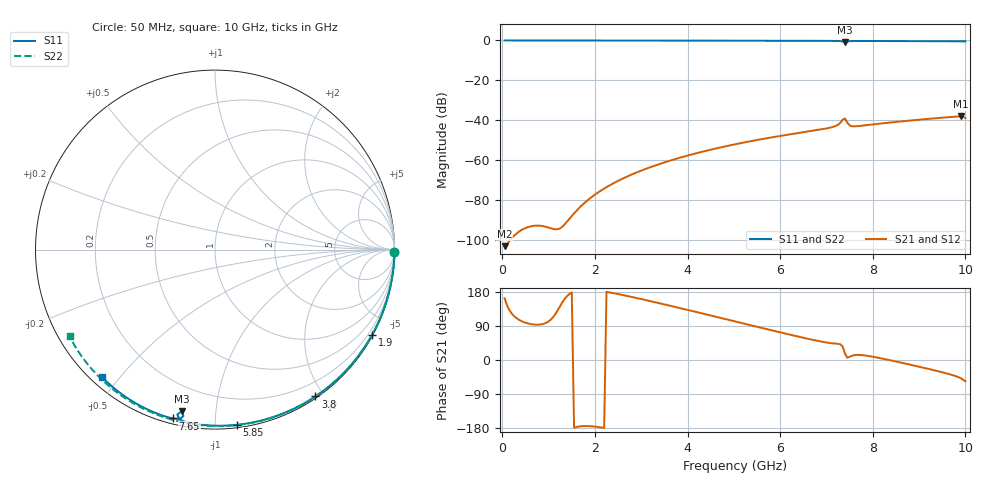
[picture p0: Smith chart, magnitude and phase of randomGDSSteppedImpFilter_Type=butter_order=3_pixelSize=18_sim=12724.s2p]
! freq	dB(S11)	phase(S11)	dB(S12)	phase(S12)
!  dB(S21)	phase(S21)	dB(S22)	phase(S22)
!S-par simulation data
#  GHz  S  DB  R 50
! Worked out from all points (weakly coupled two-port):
!   200 points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, 50 MHz to 10 GHz, reference 50 ohm
!   highest |S21| = -38.16 dB at 9.9 GHz (marker M1); lowest = -103.2 dB at 50 MHz (marker M2)
!   lowest |S11| = -0.7 dB at 7.4 GHz (marker M3), VSWR 23.83, Z = 3.49 - j40.7 ohm
!   |S11| at or under -10 dB: nowhere
!   |S22| runs from -0.6 to 0.0 dB; largest |S21 - S12| = 0
!   S11 on the Smith chart (normalised r, x): 50 MHz: open; 1.9 GHz: 0.03, -3.94; 3.8 GHz: 0.02, -1.90; 5.85 GHz: 0.02, -1.13; 7.65 GHz: 0.03, -0.78; 10 GHz: 0.03, -0.45
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0.05  -0.00 -0.8  -103.24 162.9  -103.24 162.9  -0.00 -0.9
0.9  -0.01 -13.6  -93.29 95.8  -93.29 95.8  -0.02 -15.4
1.75  -0.03 -26.3  -82.06 -174.4  -82.06 -174.4  -0.04 -29.7
1.85  -0.04 -27.8  -80.05 -174.3  -80.05 -174.3  -0.04 -31.4
1.9  -0.04 -28.5  -79.12 -174.6  -79.12 -174.6  -0.04 -32.2
2.2  -0.04 -32.9  -74.32 -179.2  -74.32 -179.2  -0.05 -37.2
2.55  -0.05 -37.9  -69.88 172.8  -69.88 172.8  -0.06 -42.9
2.95  -0.06 -43.7  -65.78 162.2  -65.78 162.2  -0.06 -49.3
3.4  -0.07 -50.0  -61.97 149.6  -61.97 149.6  -0.08 -56.5
3.8  -0.08 -55.6  -59.08 138.1  -59.08 138.1  -0.09 -62.7
5.05  -0.11 -72.5  -51.99 101.1  -51.99 101.1  -0.13 -81.5
5.85  -0.14 -82.8  -48.51 77.3  -48.51 77.3  -0.16 -93.0
6.7  -0.18 -93.5  -45.34 53.3  -45.34 53.3  -0.20 -104.8
7.2  -0.24 -100.2  -42.89 43.3  -42.89 43.3  -0.24 -111.6
7.3  -0.33 -102.0  -41.32 41.5  -41.32 41.5  -0.24 -113.0
7.35  -0.51 -102.9  -39.79 35.5  -39.79 35.5  -0.24 -113.6
7.4  -0.73 -101.6  -39.16 16.8  -39.16 16.8  -0.25 -114.3
7.5  -0.36 -101.5  -42.62 8.2  -42.62 8.2  -0.25 -115.7
7.65  -0.27 -104.0  -43.05 13.4  -43.05 13.4  -0.27 -117.7
8.35  -0.29 -112.7  -41.25 0.1  -41.25 0.1  -0.32 -127.0
9.9  -0.44 -130.4  -38.16 -48.1  -38.16 -48.1  -0.50 -147.8
10  -0.45 -131.6  -38.98 -56.4  -38.98 -56.4  -0.56 -149.3
